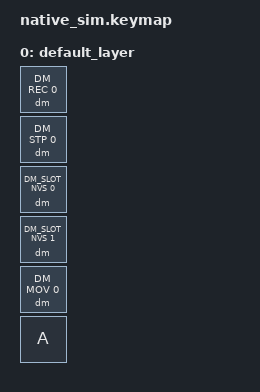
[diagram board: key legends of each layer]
/*
 * Copyright (c) 2026 The ZMK Contributors
 * SPDX-License-Identifier: MIT
 *
 * Test: Move macro from one slot to another.
 *
 * Sequence:
 * 1. Record A, save to slot 0
 * 2. Press MOV to enter move mode
 * 3. Press slot 0 (source)
 * 4. Press slot 1 (destination)
 * 5. Play slot 0 (should be empty)
 * 6. Play slot 1 (should emit A)
 *
 * Expected: Macro moved from slot 0 to slot 1
 */

#include <behaviors.dtsi>
#include <dt-bindings/zmk/keys.h>
#include <dt-bindings/zmk/kscan_mock.h>
#include <dt-bindings/zmk/dynamic_macros.h>
#include "../behavior_keymap.dtsi"

/ {
    keymap {
        compatible = "zmk,keymap";
        default_layer {
            bindings = <
                &dm DM_REC 0
                &dm DM_STP 0
                &dm DM_SLOT_NVS 0
                &dm DM_SLOT_NVS 1
                &dm DM_MOV 0
                &kp A
            >;
        };
    };
};

&kscan {
    events = <
        /* Record A */
        ZMK_MOCK_PRESS(0,0,10)
        ZMK_MOCK_RELEASE(0,0,20)
        ZMK_MOCK_PRESS(0,5,100)
        ZMK_MOCK_RELEASE(0,5,150)
        ZMK_MOCK_PRESS(0,1,200)
        ZMK_MOCK_RELEASE(0,1,210)

        /* Assign to slot 0 */
        ZMK_MOCK_PRESS(0,2,300)
        ZMK_MOCK_RELEASE(0,2,310)

        /* Enter move mode */
        ZMK_MOCK_PRESS(0,4,2000)
        ZMK_MOCK_RELEASE(0,4,2010)

        /* Select source: slot 0 */
        ZMK_MOCK_PRESS(0,2,2100)
        ZMK_MOCK_RELEASE(0,2,2110)

        /* Select destination: slot 1 */
        ZMK_MOCK_PRESS(0,3,2200)
        ZMK_MOCK_RELEASE(0,3,2210)

        /* Play slot 0 - should be empty */
        ZMK_MOCK_PRESS(0,2,4000)
        ZMK_MOCK_RELEASE(0,2,4010)

        /* Play slot 1 - should emit A */
        ZMK_MOCK_PRESS(0,3,5000)
        ZMK_MOCK_RELEASE(0,3,5010)
    >;
};
